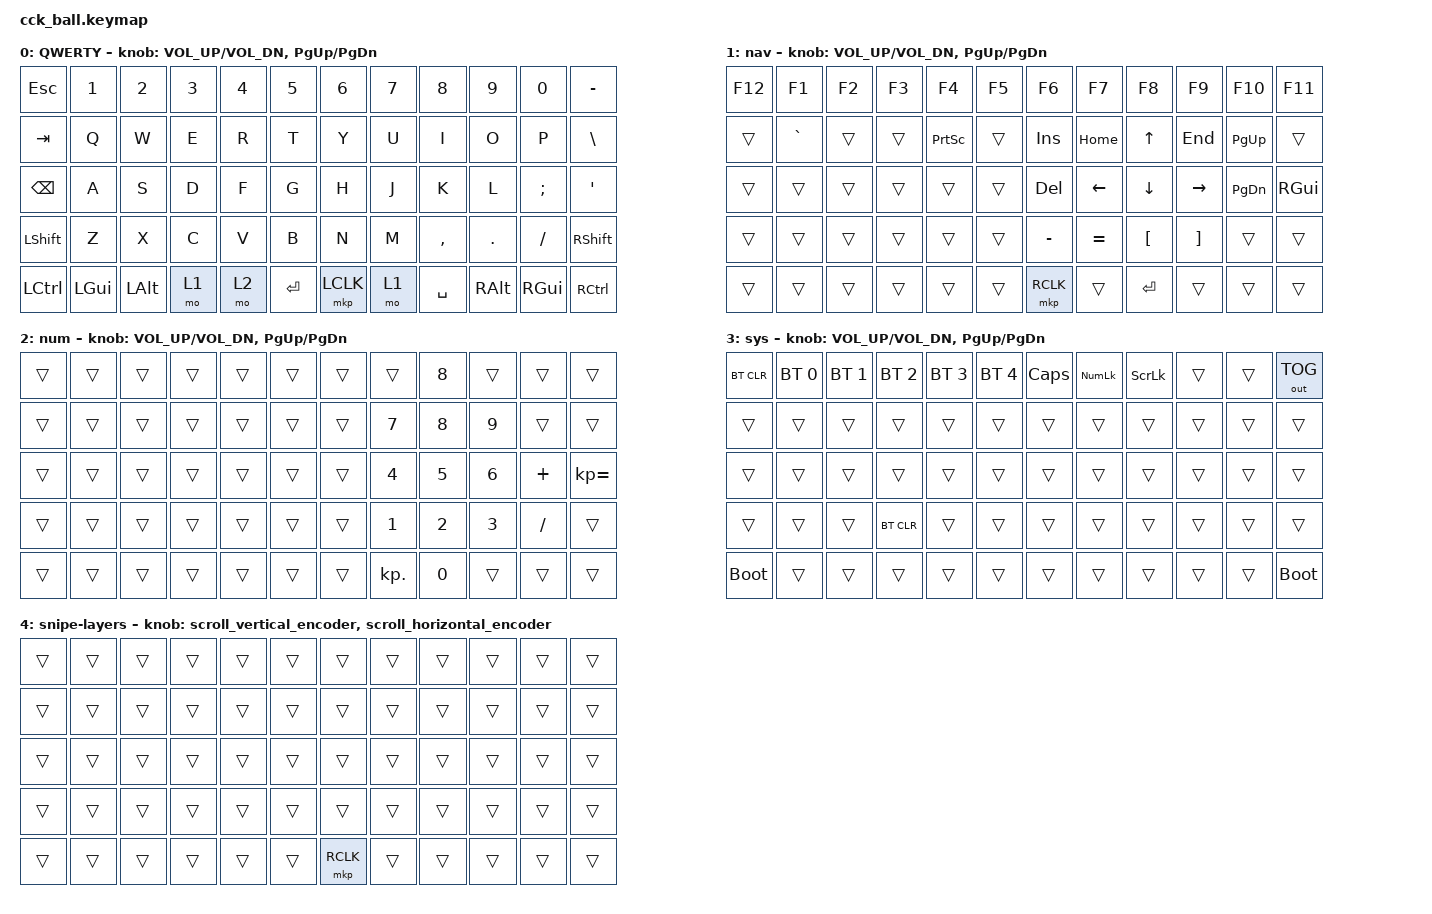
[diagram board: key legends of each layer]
#define ZMK_POINTING_DEFAULT_MOVE_VAL 1000 // 600
#define ZMK_POINTING_DEFAULT_SCRL_VAL 12   // 10

#include <input/processors.dtsi>
#include <zephyr/dt-bindings/input/input-event-codes.h>
#include <behaviors.dtsi>
#include <dt-bindings/zmk/bt.h>
#include <dt-bindings/zmk/keys.h>
#include <dt-bindings/zmk/outputs.h>
#include <dt-bindings/zmk/pointing.h>

&mmv_input_listener { input-processors = <&zip_xy_scaler 2 1>; };

&msc_input_listener { input-processors = <&zip_scroll_scaler 2 1>; };

&msc {
    acceleration-exponent = <0>;      // 0
    time-to-max-speed-ms = <300>;       // 300
    delay-ms = <0>;                   // 0
};

&mmv {
    time-to-max-speed-ms = <500>;
    acceleration-exponent = <1>;
    trigger-period-ms = <16>;
};

&soft_off { hold-time-ms = <2000>; };

/ {
    // 上下滚动编码器行为

    scroll_vertical_encoder: scroll_vertical_encoder {
        compatible = "zmk,behavior-sensor-rotate";
        #sensor-binding-cells = <0>;
        bindings = <&msc SCRL_DOWN>, <&msc SCRL_UP>;

        tap-ms = <100>;
    };

    // 左右滚动编码器行为

    scroll_horizontal_encoder: scroll_horizontal_encoder {
        compatible = "zmk,behavior-sensor-rotate";
        #sensor-binding-cells = <0>;
        bindings = <&msc SCRL_LEFT>, <&msc SCRL_RIGHT>;

        tap-ms = <100>;
    };

    tmpt: tmpt {
        compatible = "zmk,behavior-hold-tap";
        label = "TMPT";
        bindings = <&kp>, <&kp>;

        #binding-cells = <2>;
        tapping-term-ms = <200>;
        require-prior-idle-ms = <150>;
        flavor = "tap-preferred";
        quick-tap-ms = <125>;
    };

    behaviors {
    };

    keymap {
        compatible = "zmk,keymap";

        QWERTY {
            bindings = <
&kp ESC         &kp N1        &kp N2        &kp N3  &kp N4  &kp N5     &kp N6     &kp N7  &kp N8     &kp N9         &kp N0         &kp MINUS
&kp TAB         &kp Q         &kp W         &kp E   &kp R   &kp T      &kp Y      &kp U   &kp I      &kp O          &kp P          &kp BSLH
&kp BACKSPACE   &kp A         &kp S         &kp D   &kp F   &kp G      &kp H      &kp J   &kp K      &kp L          &kp SEMICOLON  &kp SQT
&kp LEFT_SHIFT  &kp Z         &kp X         &kp C   &kp V   &kp B      &kp N      &kp M   &kp COMMA  &kp DOT        &kp SLASH      &kp RIGHT_SHIFT
&kp LCTRL       &kp LEFT_GUI  &kp LEFT_ALT  &mo 1   &mo 2   &kp ENTER  &mkp LCLK  &mo 1   &kp SPACE  &kp RIGHT_ALT  &kp RGUI       &kp RCTRL
            >;

            sensor-bindings = <&inc_dec_kp C_VOL_UP C_VOL_DN &inc_dec_kp PG_UP PG_DN>;
        };

        nav {
            bindings = <
&kp F12  &kp F1     &kp F2  &kp F3  &kp F4           &kp F5  &kp F6      &kp F7          &kp F8            &kp F9             &kp F10    &kp F11
&trans   &kp GRAVE  &trans  &trans  &kp PRINTSCREEN  &trans  &kp INSERT  &kp HOME        &kp UP_ARROW      &kp END            &kp PG_UP  &trans
&trans   &trans     &trans  &trans  &trans           &trans  &kp DELETE  &kp LEFT_ARROW  &kp DOWN_ARROW    &kp RIGHT_ARROW    &kp PG_DN  &kp RGUI
&trans   &trans     &trans  &trans  &trans           &trans  &kp MINUS   &kp EQUAL       &kp LEFT_BRACKET  &kp RIGHT_BRACKET  &trans     &trans
&trans   &trans     &trans  &trans  &trans           &trans  &mkp RCLK   &trans          &kp ENTER         &trans             &trans     &trans
            >;

            sensor-bindings = <&inc_dec_kp C_VOL_UP C_VOL_DN &inc_dec_kp PG_UP PG_DN>;
            label = "nav";
        };

        num {
            bindings = <
&trans  &trans  &trans  &trans  &trans  &trans  &trans  &trans        &kp N8        &trans        &trans     &trans
&trans  &trans  &trans  &trans  &trans  &trans  &trans  &kp N7        &kp N8        &kp N9        &trans     &trans
&trans  &trans  &trans  &trans  &trans  &trans  &trans  &kp NUMBER_4  &kp N5        &kp NUMBER_6  &kp PLUS   &kp KP_EQUAL
&trans  &trans  &trans  &trans  &trans  &trans  &trans  &kp NUMBER_1  &kp NUMBER_2  &kp NUMBER_3  &kp SLASH  &trans
&trans  &trans  &trans  &trans  &trans  &trans  &trans  &kp KP_DOT    &kp NUMBER_0  &trans        &trans     &trans
            >;

            sensor-bindings = <&inc_dec_kp C_VOL_UP C_VOL_DN &inc_dec_kp PG_UP PG_DN>;
            label = "num";
        };

        sys {
            bindings = <
&bt BT_CLR   &bt BT_SEL 0  &bt BT_SEL 1  &bt BT_SEL 2  &bt BT_SEL 3  &bt BT_SEL 4  &kp CAPS  &kp KP_NUMLOCK  &kp SCROLLLOCK  &trans  &trans  &out OUT_TOG
&trans       &trans        &trans        &trans        &trans        &trans        &trans    &trans          &trans          &trans  &trans  &trans
&trans       &trans        &trans        &trans        &trans        &trans        &trans    &trans          &trans          &trans  &trans  &trans
&trans       &trans        &trans        &bt BT_CLR    &trans        &trans        &trans    &trans          &trans          &trans  &trans  &trans
&bootloader  &trans        &trans        &trans        &trans        &trans        &trans    &trans          &trans          &trans  &trans  &bootloader
            >;

            sensor-bindings = <&inc_dec_kp C_VOL_UP C_VOL_DN &inc_dec_kp PG_UP PG_DN>;
            label = "sys";
        };

        snipe-layers {
            bindings = <
&trans  &trans  &trans  &trans  &trans  &trans  &trans     &trans  &trans  &trans  &trans  &trans
&trans  &trans  &trans  &trans  &trans  &trans  &trans     &trans  &trans  &trans  &trans  &trans
&trans  &trans  &trans  &trans  &trans  &trans  &trans     &trans  &trans  &trans  &trans  &trans
&trans  &trans  &trans  &trans  &trans  &trans  &trans     &trans  &trans  &trans  &trans  &trans
&trans  &trans  &trans  &trans  &trans  &trans  &mkp RCLK  &trans  &trans  &trans  &trans  &trans
            >;

            sensor-bindings =
                <&scroll_vertical_encoder>,
                // 编码器1：上下滚动,,,,,,
                <&scroll_horizontal_encoder>;

            // 编码器2：左右滚动
        };
    };

    conditional_layers {
        compatible = "zmk,conditional-layers";

        one_plus_two_equals_three {
            if-layers = <1 2>;
            then-layer = <3>;
        };
    };
};
